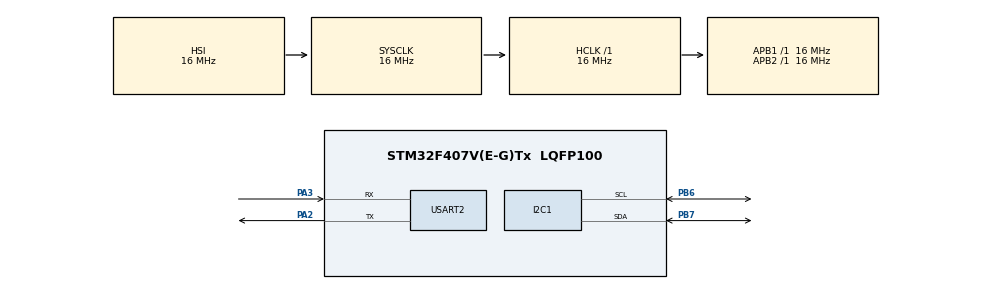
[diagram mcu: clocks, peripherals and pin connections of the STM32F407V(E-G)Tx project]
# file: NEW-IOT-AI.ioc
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FREERTOS.Tasks01=SensorTask,24,128,SensorTelemetryTask,Default,NULL,Dynamic,NULL,NULL
Mcu.Family=STM32F4
Mcu.Name=STM32F407V(E-G)Tx
Mcu.Package=LQFP100
NVIC.PriorityGroup=NVIC_PRIORITYGROUP_4
NVIC.TIM6_DAC_IRQn=true\:15\:0\:false\:false\:true\:false\:false\:true\:true
NVIC.TimeBase=TIM6_DAC_IRQn
NVIC.TimeBaseIP=TIM6
NVIC.USART2_IRQn=true\:5\:0\:false\:false\:true\:true\:true\:true\:true
PA2.Mode=Asynchronous
PA2.Signal=USART2_TX
PA3.Mode=Asynchronous
PA3.Signal=USART2_RX
PB6.Mode=I2C
PB6.Signal=I2C1_SCL
PB7.Mode=I2C
PB7.Signal=I2C1_SDA
ProjectManager.HeapSize=0x200
ProjectManager.StackSize=0x400
ProjectManager.TargetToolchain=STM32CubeIDE
RCC.AHBFreq_Value=16000000
RCC.APB1Freq_Value=16000000
RCC.APB2Freq_Value=16000000
RCC.CortexFreq_Value=16000000
RCC.HSE_VALUE=25000000
RCC.HSI_VALUE=16000000
RCC.LSE_VALUE=32768
RCC.SYSCLKFreq_VALUE=16000000
RCC.VCOOutputFreq_Value=192000000
USART2.VirtualMode=VM_ASYNC
VP_FREERTOS_VS_CMSIS_V2.Mode=CMSIS_V2
VP_SYS_VS_tim6.Mode=TIM6
board=custom

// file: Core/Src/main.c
/* USER CODE BEGIN Header */
/**
  ******************************************************************************
  * @file           : main.c
  * @brief          : Main program body
  ******************************************************************************
  * @attention
  *
  * Copyright (c) 2026 STMicroelectronics.
  * All rights reserved.
  *
  * This software is licensed under terms that can be found in the LICENSE file
  * in the root directory of this software component.
  * If no LICENSE file comes with this software, it is provided AS-IS.
  *
  ******************************************************************************
  */
/* USER CODE END Header */
#include "main.h"
#include "sensor_protocol.h"
#include "ai_inference.h"
#include <math.h>
#include <stdlib.h>
#include <stdbool.h>
#include <string.h>
#include "mpu6050.h"
#include "vibration_rms.h"
#include "vibration_itm_logger.h"
#include "ota_receiver.h"
#include "ota_confirm.h"
#include "FreeRTOS.h"
#include "task.h"

I2C_HandleTypeDef hi2c1;

UART_HandleTypeDef huart2;

/* USER CODE BEGIN PV */

static hdlc_decoder_t ota_decoder;
static uint8_t ota_rx_byte;

typedef enum {
    OTA_PENDING_NONE = 0,
    OTA_PENDING_BEGIN,
} ota_pending_action_t;

static volatile ota_pending_action_t ota_pending_action = OTA_PENDING_NONE;
static uint32_t ota_pending_total_size;

static uint32_t ota_boot_tick;
static bool ota_confirmed = false;

/* USER CODE END PV */

void SystemClock_Config(void);
static void MX_GPIO_Init(void);
static void MX_USART2_UART_Init(void);
static void MX_I2C1_Init(void);

/* USER CODE BEGIN PFP */

#define SENSOR_ID       0x01
#define SAMPLE_PERIOD_MS 500

/* Simple deterministic-ish pseudo-random jitter without needing
 * a hardware RNG peripheral - good enough for simulation purposes. */
static float pseudo_noise(float amplitude)
{
    static uint32_t seed = 12345;
    seed = seed * 1103515245u + 12345u;
    float unit = ((seed >> 16) & 0x7FFF) / 32768.0f; /* 0.0 - 1.0 */
    return (unit - 0.5f) * 2.0f * amplitude;
}

static void SensorTask(void *argument)
{
  uint8_t txbuf[HDLC_TX_BUF_SIZE];
  float t = 0.0f;

  for (;;)
  {
	  	  	  /* OTA: handle a deferred BEGIN here in the task, not
	  	  	   * inside the UART RX interrupt -- this is where the ~1s
	  	  	   * blocking sector erase actually happens. Sensor sampling
	  	  	   * pauses for that ~1s while this runs, which only happens
	  	  	   * during an actual firmware update, not steady-state. */
	  	  	  if (ota_pending_action == OTA_PENDING_BEGIN) {
	  	  	      ota_result_t r = ota_receiver_begin(ota_pending_total_size);
	  	  	      uint8_t resp = (r == OTA_OK) ? OTA_ACK_BYTE : OTA_NAK_BYTE;
	  	  	      uint8_t ackbuf[8];
	  	  	      uint16_t acklen = hdlc_encode_raw(&resp, 1, ackbuf, sizeof(ackbuf));
	  	  	      if (acklen > 0) HAL_UART_Transmit(&huart2, ackbuf, acklen, HAL_MAX_DELAY);
	  	  	      ota_pending_action = OTA_PENDING_NONE;
	  	  	  }

	  	  	  /* OTA: a few seconds after boot, confirm this image is good
	  	  	   * so the bootloader stops counting boot attempts against it.
	  	  	   * Simple time-based check for now -- tie this to a real
	  	  	   * self-check (AI inference producing valid output, sensor
	  	  	   * responding, etc) once you have one defined. */
	  	  	  if (!ota_confirmed && (HAL_GetTick() - ota_boot_tick > 10000)) {
	  	  	      ota_confirm_good();
	  	  	      ota_confirmed = true;
	  	  	  }

	  	  	  //vibration_logging_task();
	  	  	  SensorFrame_t frame;
	          frame.sensor_id = SENSOR_ID;
	          frame.timestamp_ms = HAL_GetTick();

	          /* Simulated temperature: baseline 45C, slow drift, +/-1.5C noise
	           * (representative of a motor housing / bearing temp) */
	          frame.temperature_c = 45.0f + 5.0f * sinf(t * 0.05f) + pseudo_noise(1.5f);

	          /* Simulated vibration RMS: baseline 0.8g, occasional spikes
	           * to mimic a developing fault condition */
	          //float spike = (((uint32_t)t) % 20 == 0) ? 2.5f : 0.0f;
	          //frame.vibration_rms_g = 0.8f + 0.3f * sinf(t * 0.3f) + pseudo_noise(0.1f) + spike;
	          frame.vibration_rms_g = vibration_rms_read();
	          /* Simulated pressure: baseline 101.3 kPa, small variation */
	          //frame.pressure_kpa = 101.3f + 0.5f * sinf(t * 0.02f) + pseudo_noise(0.2f);
              frame.pressure_kpa = 250;
	          /* Feed the new sample into the sliding-window autoencoder.
	           * Returns false for the first (WINDOW_SIZE - 1) samples while
	           * the window fills; frame.anomaly_score stays 0 until then. */
	          float score = 0.0f;
	          uint8_t is_anomaly = 0;
	          ai_inference_update(frame.temperature_c, frame.vibration_rms_g,
	                              frame.pressure_kpa, &score, &is_anomaly);
	          frame.anomaly_score = score;
	          frame.is_anomaly = is_anomaly;

	          uint16_t len = hdlc_encode_frame(&frame, txbuf, sizeof(txbuf));
	          if (len > 0)
	          {
	              HAL_UART_Transmit(&huart2, txbuf, len, HAL_MAX_DELAY);
	          }

	          t += (float)SAMPLE_PERIOD_MS / 1000.0f;
	          /* vTaskDelay yields the CPU to other tasks/idle instead of
	           * busy-blocking like HAL_Delay did in the old superloop. */
	          vTaskDelay(pdMS_TO_TICKS(SAMPLE_PERIOD_MS));
  }
}

int main(void)
{

  /* MCU Configuration--------------------------------------------------------*/

  /* Reset of all peripherals, Initializes the Flash interface and the Systick. */
  HAL_Init();
  ota_receiver_init();

  /* Configure the system clock */
  SystemClock_Config();

  /* Initialize all configured peripherals */
  MX_GPIO_Init();
  MX_USART2_UART_Init();
  MX_I2C1_Init();
  /* USER CODE BEGIN 2 */
  ai_inference_init();
  MPU6050_Init();
  itm_init();

  /* OTA: initialize the HDLC decoder and start interrupt-driven
   * single-byte UART RX so the ESP32 can send OTA command frames
   * (BEGIN/DATA/END) asynchronously, independent of the TX-only
   * sensor telemetry loop below. */
  hdlc_decoder_init(&ota_decoder);
  HAL_UART_Receive_IT(&huart2, &ota_rx_byte, 1);
  ota_boot_tick = HAL_GetTick();

  /* Create the sensor/OTA task in place of the old superloop, then hand
   * off to the scheduler. Stack size and priority are starting points --
   * tune STACK_SIZE if you see a stack overflow hook fire, and raise the
   * priority above tskIDLE_PRIORITY if other tasks get added later that
   * shouldn't starve sensor sampling. */
  if (xTaskCreate(SensorTask, "SensorTask", 512, NULL,
                  tskIDLE_PRIORITY + 1, NULL) != pdPASS)
  {
    Error_Handler();
  }
  /* USER CODE END 2 */

  /* USER CODE BEGIN WHILE */
  vTaskStartScheduler();

  /* vTaskStartScheduler() only returns if there isn't enough heap to
   * create the idle/timer tasks -- should never reach here in normal
   * operation. */
  Error_Handler();
  /* USER CODE END 3 */
}

void SystemClock_Config(void)
{
  RCC_OscInitTypeDef RCC_OscInitStruct = {0};
  RCC_ClkInitTypeDef RCC_ClkInitStruct = {0};

  /** Configure the main internal regulator output voltage
  */
  __HAL_RCC_PWR_CLK_ENABLE();
  __HAL_PWR_VOLTAGESCALING_CONFIG(PWR_REGULATOR_VOLTAGE_SCALE1);

  /** Initializes the RCC Oscillators according to the specified parameters
  * in the RCC_OscInitTypeDef structure.
  */
  RCC_OscInitStruct.OscillatorType = RCC_OSCILLATORTYPE_HSI;
  RCC_OscInitStruct.HSIState = RCC_HSI_ON;
  RCC_OscInitStruct.HSICalibrationValue = RCC_HSICALIBRATION_DEFAULT;
  RCC_OscInitStruct.PLL.PLLState = RCC_PLL_NONE;
  if (HAL_RCC_OscConfig(&RCC_OscInitStruct) != HAL_OK)
  {
    Error_Handler();
  }

  /** Initializes the CPU, AHB and APB buses clocks
  */
  RCC_ClkInitStruct.ClockType = RCC_CLOCKTYPE_HCLK|RCC_CLOCKTYPE_SYSCLK
                              |RCC_CLOCKTYPE_PCLK1|RCC_CLOCKTYPE_PCLK2;
  RCC_ClkInitStruct.SYSCLKSource = RCC_SYSCLKSOURCE_HSI;
  RCC_ClkInitStruct.AHBCLKDivider = RCC_SYSCLK_DIV1;
  RCC_ClkInitStruct.APB1CLKDivider = RCC_HCLK_DIV1;
  RCC_ClkInitStruct.APB2CLKDivider = RCC_HCLK_DIV1;

  if (HAL_RCC_ClockConfig(&RCC_ClkInitStruct, FLASH_LATENCY_0) != HAL_OK)
  {
    Error_Handler();
  }
}

static void MX_I2C1_Init(void)
{

  hi2c1.Instance = I2C1;
  hi2c1.Init.ClockSpeed = 100000;
  hi2c1.Init.DutyCycle = I2C_DUTYCYCLE_2;
  hi2c1.Init.OwnAddress1 = 0;
  hi2c1.Init.AddressingMode = I2C_ADDRESSINGMODE_7BIT;
  hi2c1.Init.DualAddressMode = I2C_DUALADDRESS_DISABLE;
  hi2c1.Init.OwnAddress2 = 0;
  hi2c1.Init.GeneralCallMode = I2C_GENERALCALL_DISABLE;
  hi2c1.Init.NoStretchMode = I2C_NOSTRETCH_DISABLE;
  if (HAL_I2C_Init(&hi2c1) != HAL_OK)
  {
    Error_Handler();
  }

}

static void MX_USART2_UART_Init(void)
{

  huart2.Instance = USART2;
  huart2.Init.BaudRate = 115200;
  huart2.Init.WordLength = UART_WORDLENGTH_8B;
  huart2.Init.StopBits = UART_STOPBITS_1;
  huart2.Init.Parity = UART_PARITY_NONE;
  huart2.Init.Mode = UART_MODE_TX_RX;
  huart2.Init.HwFlowCtl = UART_HWCONTROL_NONE;
  huart2.Init.OverSampling = UART_OVERSAMPLING_16;
  if (HAL_UART_Init(&huart2) != HAL_OK)
  {
    Error_Handler();
  }

}

static void MX_GPIO_Init(void)
{

  /* GPIO Ports Clock Enable */
  __HAL_RCC_GPIOA_CLK_ENABLE();
  __HAL_RCC_GPIOB_CLK_ENABLE();

}

/* USER CODE BEGIN 4 */

/* Sends a single-byte ACK or NAK frame back to the ESP32, HDLC-framed
 * and CRC-checked the same as everything else on this link. Used for
 * OTA_CMD_DATA and OTA_CMD_END responses -- OTA_CMD_BEGIN's response
 * is sent separately from the main loop instead, since it has to wait
 * for the deferred erase to actually finish first (see main loop). */
static void ota_send_ack(void)
{
    uint8_t resp = OTA_ACK_BYTE;
    uint8_t buf[8];
    uint16_t len = hdlc_encode_raw(&resp, 1, buf, sizeof(buf));
    if (len > 0) HAL_UART_Transmit(&huart2, buf, len, HAL_MAX_DELAY);
}

static void ota_send_nak(void)
{
    uint8_t resp = OTA_NAK_BYTE;
    uint8_t buf[8];
    uint16_t len = hdlc_encode_raw(&resp, 1, buf, sizeof(buf));
    if (len > 0) HAL_UART_Transmit(&huart2, buf, len, HAL_MAX_DELAY);
}

/* Called once a complete, CRC-verified OTA frame has been decoded.
 * payload[0] is always the command byte (OTA_CMD_BEGIN/DATA/END --
 * see ota_receiver.h). Runs in interrupt context (called from
 * HAL_UART_RxCpltCallback below) for everything except BEGIN, whose
 * actual erase work is deferred to the main loop since it blocks for
 * ~1s -- far too long to spend inside an ISR. */
static void ota_dispatch_frame(const uint8_t *payload, uint16_t len)
{
    if (len < 1) { ota_send_nak(); return; }

    uint8_t cmd = payload[0];

    switch (cmd) {

    case OTA_CMD_BEGIN: {
        if (len < 1 + sizeof(uint32_t)) { ota_send_nak(); return; }
        uint32_t total_size;
        memcpy(&total_size, &payload[1], sizeof(uint32_t));
        /* Defer to main loop -- do NOT call ota_receiver_begin() here,
         * it blocks for ~1s doing sector erase. No ACK/NAK sent yet;
         * the main loop sends it once the erase actually completes. */
        ota_pending_total_size = total_size;
        ota_pending_action = OTA_PENDING_BEGIN;
        break;
    }

    case OTA_CMD_DATA: {
        if (len < 1 + 4 + 2) { ota_send_nak(); return; }
        uint32_t offset;
        uint16_t chunk_len;
        memcpy(&offset, &payload[1], sizeof(uint32_t));
        memcpy(&chunk_len, &payload[5], sizeof(uint16_t));
        const uint8_t *data = &payload[7];

        if (7 + chunk_len > len) { ota_send_nak(); return; }

        ota_result_t r = ota_receiver_data(offset, data, chunk_len);
        if (r == OTA_OK) ota_send_ack(); else ota_send_nak();
        break;
    }

    case OTA_CMD_END: {
        if (len < 1 + sizeof(uint32_t)) { ota_send_nak(); return; }
        uint32_t crc;
        memcpy(&crc, &payload[1], sizeof(uint32_t));

        ota_result_t r = ota_receiver_end(crc);
        if (r == OTA_OK) {
            /* ACK first so the ESP32 knows the transfer genuinely
             * succeeded, THEN reboot into the bootloader. */
            ota_send_ack();
            ota_reboot_to_apply_update(); /* never returns */
        } else {
            ota_send_nak();
        }
        break;
    }

    default:
        ota_send_nak();
        break;
    }
}

/* HAL calls this once the single byte armed by HAL_UART_Receive_IT
 * has arrived. Feed it to the HDLC decoder, dispatch a complete frame
 * if one just finished, then immediately re-arm for the next byte --
 * missing the re-arm would silently stop all further RX. */
void HAL_UART_RxCpltCallback(UART_HandleTypeDef *huart)
{
    if (huart->Instance == USART2) {
        int16_t result = hdlc_decoder_feed(&ota_decoder, ota_rx_byte);
        if (result > 0) {
            ota_dispatch_frame(ota_decoder.buf, (uint16_t)result);
        }
        /* result == 0: frame still in progress, nothing to do.
         * result < 0: CRC error or overflow, decoder already reset
         * itself -- nothing to do here either, just keep receiving. */

        HAL_UART_Receive_IT(&huart2, &ota_rx_byte, 1);
    }
}

/* HAL calls this on any UART error (overrun, framing, noise, parity).
 * Critically: HAL_UART_Receive_IT does NOT automatically re-arm itself
 * after an error -- it aborts the receive and resets RxState, but
 * never calls HAL_UART_RxCpltCallback (only a successful receive does
 * that). Without this callback re-arming reception explicitly, a
 * SINGLE glitch on the RX line (very plausible right at power-up, or
 * from any electrical noise) would silently and permanently stop all
 * future UART RX -- while TX keeps working fine, since it's a
 * separate state machine (gState vs RxState). This exact asymmetry
 * -- telemetry TX still flowing, RX completely dead -- is what made
 * this bug easy to miss until an OTA command actually needed the RX
 * path to still be alive. */
void HAL_UART_ErrorCallback(UART_HandleTypeDef *huart)
{
    if (huart->Instance == USART2) {
        __HAL_UART_CLEAR_PEFLAG(huart); /* clear parity/framing/noise/overrun flags */
        HAL_UART_Receive_IT(&huart2, &ota_rx_byte, 1);
    }
}

/* USER CODE END 4 */

void HAL_TIM_PeriodElapsedCallback(TIM_HandleTypeDef *htim)
{
  if (htim->Instance == TIM6)
  {
    HAL_IncTick();
  }
}

void Error_Handler(void)
{
  __disable_irq();
  while (1)
  {
  }
}
